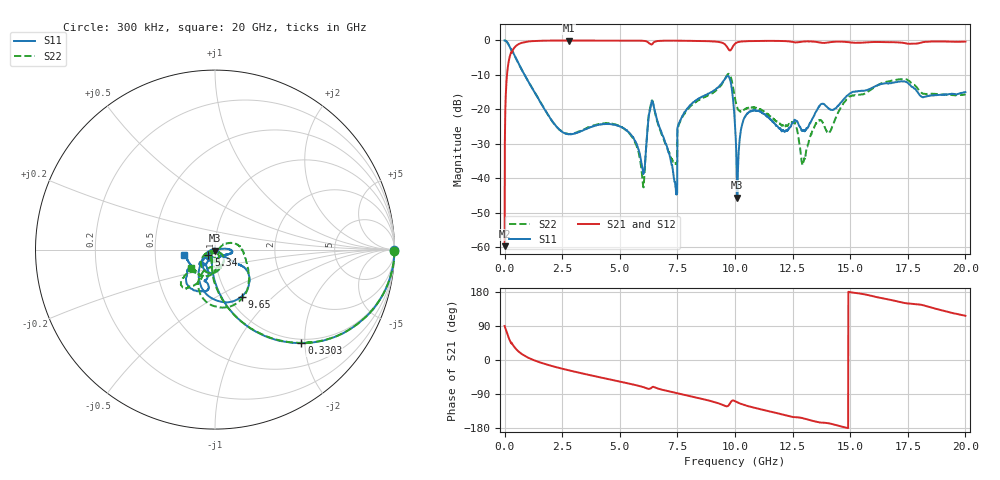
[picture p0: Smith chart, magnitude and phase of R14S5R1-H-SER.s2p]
!{R14S5R1}
!Johanson Technology Inc.
!www.johansontechnology.com
!Test Board Conditions:
!Substrate Type  RO4350B
!Substrate Thickness  20 mil
!Substrate Dk  3.66
!TL Type: GCPW
!TL Trace Width  36 mil
!TL Gap  12 mil
!Electrode orientation  Horizontal
!DUT TOPOLOGY	SERIES
!Mounting Pad LxW  26x36 mil
! Created Wed Nov 25 17:33:21 2020
! 2 Port Network Data from SP1.SP block
! freq  magS11  angS11  magS21  angS21  magS12  angS12  magS22  angS22
# khz S ma R 50
! decimated to every 10th point (10 MHz spacing) of the original 1 MHz Johanson file; values unchanged
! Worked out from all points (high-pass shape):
!   2001 points, 300 kHz to 20 GHz, reference 50 ohm
!   highest |S21| = -0.03 dB at 2.8 GHz (marker M1); lowest = -59.7 dB at 300 kHz (marker M2)
!   |S21| within 3 dB of the highest: 337.3 MHz to end of sweep
!   lowest |S11| = -45.6 dB at 10.1 GHz (marker M3), VSWR 1.01, Z = 50.1 - j0.51 ohm
!   |S11| at or under -10 dB: 867.1 MHz to end of sweep
!   |S22| runs from -42.6 to 0.0 dB; largest |S21 - S12| = 0.014
!   S11 on the Smith chart (normalised r, x): 300 kHz: open; 330.3 MHz: 0.92, -1.93; 5.34 GHz: 0.93, -0.06; 9.65 GHz: 1.14, -0.66; 20 GHz: 0.70, -0.04
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300  0.9987 -0.2  0.001037 89.6  0.0008814 90.1  0.9977 -0.3
120300  0.9316 -22.3  0.3594 67.6  0.3609 67.6  0.9318 -22.2
330300  0.7091 -47.2  0.6976 42.5  0.6991 42.5  0.7096 -47.0
1030300  0.2531 -83.5  0.965 5.8  0.965 5.8  0.2534 -84.2
2800300  0.04359 -109.9  0.9969 -27.4  0.9959 -27.4  0.04391 -123.6
3340300  0.0488 -115.6  0.9954 -35.0  0.995 -35.0  0.04963 -133.0
5340300  0.04806 -140.3  0.9942 -61.5  0.9938 -61.5  0.04771 -159.8
6000300  0.01276 -109.5  0.9879 -71.2  0.9883 -71.2  0.008322 -120.7
6340300  0.1094 -76.4  0.8831 -74.9  0.8837 -75.0  0.1139 -80.3
6670300  0.06187 -153.8  0.9829 -75.6  0.983 -75.6  0.05936 -155.3
7390300  0.008886 152.8  0.9931 -86.4  0.9928 -86.4  0.01634 -108.7
7650300  0.07196 -36.4  0.99 -90.0  0.9902 -90.0  0.06952 29.1
9650300  0.3004 -60.5  0.81 -122.2  0.8108 -122.1  0.3119 -61.3
9850300  0.2107 -112.7  0.7526 -108.5  0.7548 -108.4  0.2704 -106.0
1.00003e7  0.05964 -142.8  0.8961 -108.6  0.8971 -108.6  0.1445 -118.4
1.01003e7  0.005266 -75.0  0.9398 -111.7  0.9386 -111.7  0.1054 -107.5
1.06803e7  0.09404 -4.0  0.9797 -123.5  0.9777 -123.6  0.1063 -72.3
1.25603e7  0.06749 -113.6  0.9421 -150.9  0.9443 -150.8  0.06421 -94.9
1.29603e7  0.04865 -142.9  0.9636 -153.9  0.964 -153.9  0.01695 -86.2
1.33403e7  0.07119 -123.0  0.9651 -160.1  0.9673 -160.0  0.04688 -61.5
1.66703e7  0.2373 -105.5  0.9429 159.6  0.9379 159.4  0.2559 -125.0
2e7  0.1779 -169.9  0.9619 116.5  0.9595 116.7  0.1664 -143.1
